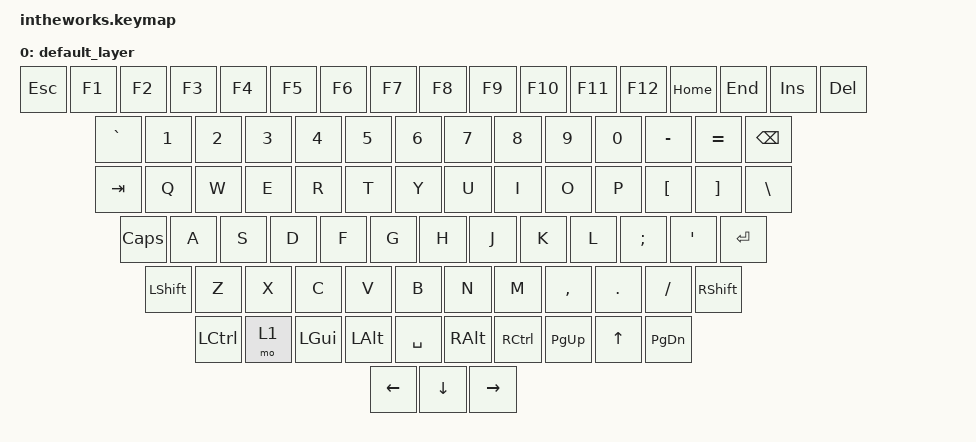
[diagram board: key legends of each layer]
/*
 * Copyright (c) 2021 Nick Winans
 *
 * SPDX-License-Identifier: MIT
 */

#include <behaviors.dtsi>
#include <dt-bindings/zmk/keys.h>
#include <dt-bindings/zmk/bt.h>

/ {
    keymap {
        compatible = "zmk,keymap";

        default_layer {
		// ------------------------------------------------------------------------------------------------
		// | ESC | F1  | F2  | F3  | F4  | F5  | F6  | F7  | F9  | F9  | F10 | F11 | F12 | HOME | END | INS | DEL |
		// |GRAVE|  1  |  2  |  3  |  4  |  5  |  6  |  7  |  8  |  9  |  0  |  -  |  =  |   BKSP   |
		// | TAB   |  Q  |  W  |  E  |  R  |  T  |  Y  |  U  |  I  |  O  |  P  |  [  |  ]  |   \    |
		// | CAPS   |  A  |  S  |  D  |  F  |  G  |  H  |  J  |  K  |  L  |  ;  |  '  |    ENTER    |
		// |  SHIFT   |  Z  |  X  |  C  |  V  |  B  |  N  |  M  |  ,  |  .  |  /  |   SHIFT   |
		// |  CTL  |  MO(1) | WIN  |  ALT  |             SPACE                | ALT |RCTRL| PGUP | UP | PGDN|
		//                                                                                | LEFT| DOWN|RIGHT|
		// ------------------------------------------------------------------------------------------------
		bindings = <
		&kp ESC &kp F1 &kp F2 &kp F3 &kp F4 &kp F5 &kp F6 &kp F7 &kp  F8   &kp  F9 &kp  F10  &kp F11 &kp F12 &kp HOME &kp END &kp INS &kp DEL
		&kp GRAVE &kp N1 &kp N2 &kp N3 &kp N4 &kp N5 &kp N6 &kp N7 &kp  N8   &kp  N9   &kp N0 &kp MINUS &kp EQUAL &kp BKSP
		&kp TAB   &kp Q  &kp W  &kp E  &kp R  &kp T  &kp Y  &kp U  &kp  I    &kp  O  &kp  P   &kp LBKT &kp RBKT &kp BSLH
		&kp CLCK   &kp A  &kp S  &kp D  &kp F  &kp G  &kp H  &kp J  &kp  K    &kp  L  &kp SEMI &kp SQT         &kp RET
		&kp LSHFT     &kp Z  &kp X  &kp C  &kp V  &kp B  &kp N  &kp M  &kp COMMA &kp DOT &kp FSLH   &kp RSHFT
		&kp LCTRL &mo 1 &kp LGUI &kp LALT            &kp SPACE                   &kp RALT &kp RCTRL &kp PG_UP &kp UP &kp PG_DN
		                                                                                             &kp LEFT &kp DOWN &kp RIGHT
		>;
	};
    };
};
